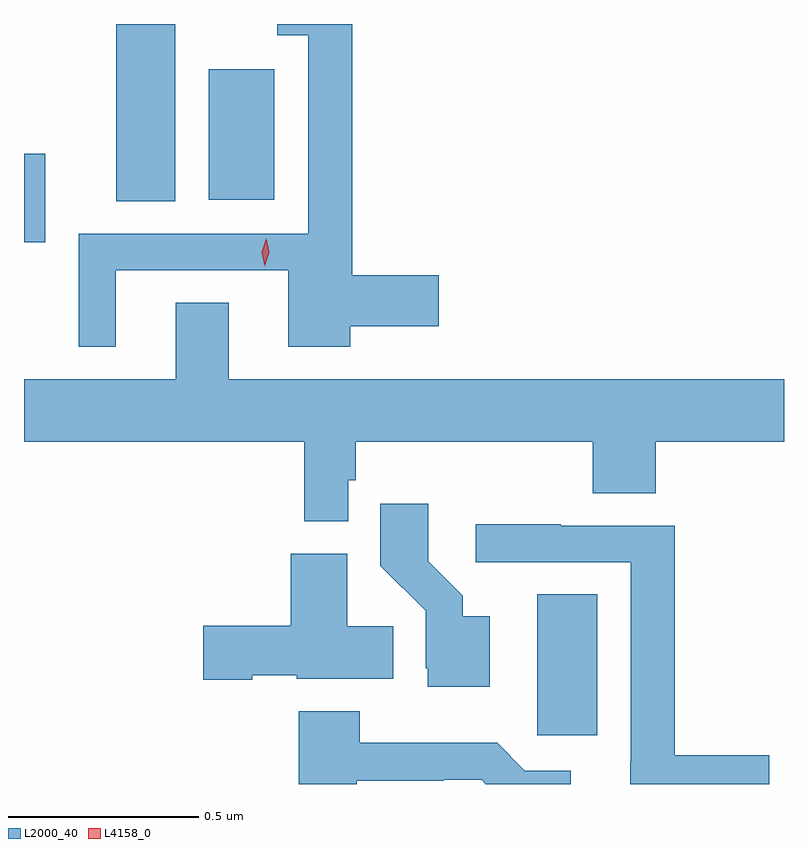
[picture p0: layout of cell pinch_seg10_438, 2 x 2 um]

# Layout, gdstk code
import gdstk
lib = gdstk.Library(unit=1e-6, precision=1e-09)
def R(c, l, rs):  # rectangles x0, y0, x1, y1
    for r in rs: c.add(gdstk.rectangle(r[:2], r[2:], *l))
def P(c, l, *ps):  # polygons
    for p in ps: c.add(gdstk.Polygon(p, *l))
L2000_40 = (2000, 40)
L4158_0 = (4158, 0)

pinch_seg10_438 = lib.new_cell('pinch_seg10_438')
R(pinch_seg10_438, L2000_40, [(375.782,1303.539,375.94,1303.91), (374.432,1304.837,374.488,1305.07), (374.675,1304.944,374.83,1305.411), (374.918,1304.948,375.091,1305.292)])
P(pinch_seg10_438, L2000_40, [(374.674,1304.763),(375.128,1304.763),(375.128,1304.562),(375.29,1304.562),(375.29,1304.615),(375.523,1304.615),(375.523,1304.75),(375.296,1304.75),(375.296,1305.411),(375.099,1305.411),(375.099,1305.381),(375.18,1305.381),(375.18,1304.859),(374.576,1304.859),(374.576,1304.562),(374.674,1304.562)],
  [(375.285,1304.211),(375.305,1304.211),(375.305,1304.312),(375.929,1304.312),(375.929,1304.176),(376.094,1304.176),(376.094,1304.312),(376.432,1304.312),(376.432,1304.476),(374.971,1304.476),(374.971,1304.678),(374.831,1304.678),(374.831,1304.476),(374.432,1304.476),(374.432,1304.312),(375.169,1304.312),(375.169,1304.102),(375.285,1304.102)],
  [(375.658,1303.852),(375.586,1303.852),(375.586,1303.907),(375.496,1303.997),(375.496,1304.149),(375.37,1304.149),(375.37,1303.986),(375.489,1303.867),(375.489,1303.716),(375.494,1303.716),(375.494,1303.667),(375.658,1303.667)],
  [(376.393,1303.487),(376.145,1303.487),(376.145,1304.091),(375.845,1304.091),(375.845,1304.094),(375.621,1304.094),(375.621,1303.995),(376.029,1303.995),(376.029,1303.47),(376.028,1303.47),(376.028,1303.411),(376.393,1303.411)],
  [(375.033,1303.697),(375.15,1303.697),(375.15,1303.688),(375.404,1303.688),(375.404,1303.826),(375.283,1303.826),(375.283,1304.017),(375.134,1304.017),(375.134,1303.827),(374.904,1303.827),(374.904,1303.685),(375.033,1303.685)],
  [(375.307,1303.419),(375.536,1303.419),(375.536,1303.422),(375.636,1303.422),(375.647,1303.411),(375.871,1303.411),(375.871,1303.446),(375.75,1303.446),(375.677,1303.519),(375.315,1303.519),(375.315,1303.603),(375.155,1303.603),(375.155,1303.411),(375.307,1303.411)])
P(pinch_seg10_438, L4158_0, [(375.066,1304.774),(375.066,1304.775),(375.058,1304.811),(375.07,1304.846),(375.07,1304.847),(375.07,1304.846),(375.078,1304.81),(375.066,1304.775)])

lib.write_gds('pinch_seg10_438.gds')
